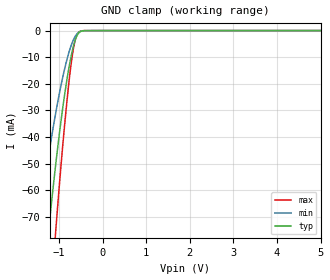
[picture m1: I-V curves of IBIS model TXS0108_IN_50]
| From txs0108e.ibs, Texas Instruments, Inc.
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[Model]   TXS0108_IN_50
Model_type  Input
Vinl=1.35
Vinh=3.85
| variable   typ   min   max
C_comp   2.79pF   2.38pF   3.25pF
[Temperature Range]   40   100   -40
| Ambient temperature   25   85   -40
[Voltage range]   5   4.5   5.5
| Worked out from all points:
|   GND clamp passes 1 mA (typ) near -0.55 V on its own axis
[GND Clamp]
| TXS0108_IN_50
|   Voltage   I(typ)   I(min)   I(max)
-5.5V     -1.044A    -792.1mA   -1.306A
-1.485V   -118mA     -75.66mA   -171.9mA
-1.235V   -74.67mA   -46.75mA   -111mA
-1.095V   -53.14mA   -32.79mA   -79.59mA
-1.07V    -49.55mA   -30.48mA   -74.25mA
-890mV    -26.25mA   -15.76mA   -38.85mA
-815mV    -18.11mA   -10.73mA   -26.09mA
-735mV    -10.71mA   -6.27mA    -14.23mA
-675mV    -6.234mA   -3.678mA   -7.317mA
-625mV    -3.403mA   -2.09mA    -3.384mA
-515mV    -456.5uA   -357.1uA   -255.1uA
5V        373.8pA    1.124nA    43.71pA
